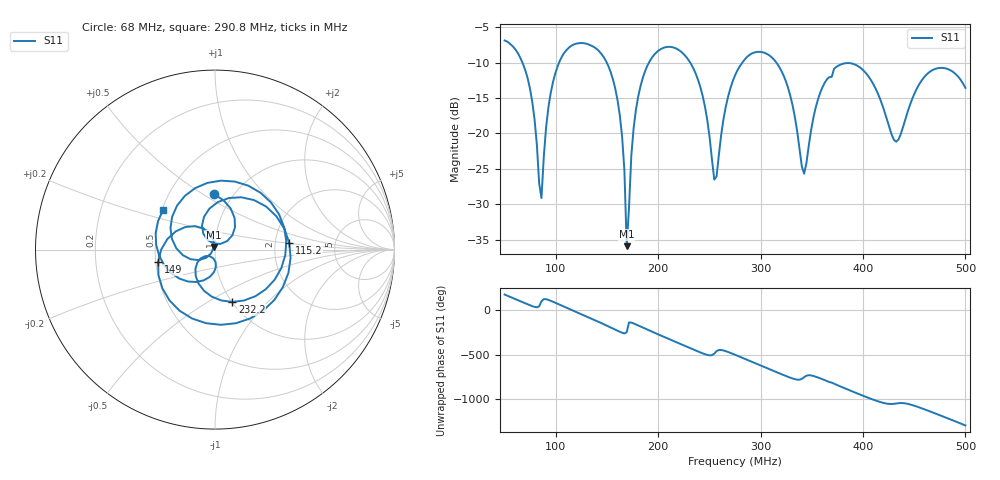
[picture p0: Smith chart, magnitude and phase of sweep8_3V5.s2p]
!Agilent Technologies,E8364B,US42250162,A.07.50.67
!Agilent E8364B: A.07.50.67
!Date: Friday, June 23, 2023 16:20:17
!Correction: S11(Off)
!S21(Off)
!S12(Off)
!S22(Off)
!S2P File: Measurements: S11, S21, S12, S22:
# Hz S  RI  R 50
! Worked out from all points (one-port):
!   201 points, 50 MHz to 500 MHz, reference 50 ohm
!   lowest |S11| = -35.9 dB at 169.2 MHz (marker M1), VSWR 1.03, Z = 49.3 + j1.44 ohm
!   |S11| at or under -10 dB: 149.7 MHz to 191 MHz (41.35 MHz wide, 24.3 % of centre); 231.2 MHz to 282.3 MHz (51.11 MHz wide, 19.9 % of centre); 315.3 MHz to end of sweep (the widest 3 of 4)
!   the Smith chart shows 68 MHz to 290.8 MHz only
!   S11 on the Smith chart (normalised r, x): 68 MHz: 0.82, +0.56; 115.2 MHz: 2.39, +0.22; 149 MHz: 0.51, -0.08; 232.2 MHz: 1.01, -0.65; 290.8 MHz: 0.51, +0.26
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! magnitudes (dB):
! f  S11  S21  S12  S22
! 50 MHz  -6.9  -  -  -
! 68 MHz  -10.2  -  -  -
! 86 MHz  -29.1  -  -  -
! 95 MHz  -14.3  -  -  -
! 115.2 MHz  -7.6  -  -  -
! 126.5 MHz  -7.3  -  -  -
! 149 MHz  -9.8  -  -  -
! 162.5 MHz  -17.4  -  -  -
! 169.2 MHz  -35.9  -  -  -
! 178.2 MHz  -16.7  -  -  -
! 200.8 MHz  -8.3  -  -  -
! 232.2 MHz  -10.3  -  -  -
! 254.8 MHz  -26.5  -  -  -
! 275 MHz  -11.8  -  -  -
! 290.8 MHz  -8.8  -  -  -
! 322.2 MHz  -11.8  -  -  -
! 342.5 MHz  -25.7  -  -  -
! 351.5 MHz  -17.8  -  -  -
! 387.5 MHz  -10.1  -  -  -
! 425.8 MHz  -19.2  -  -  -
! 468.5 MHz  -11.0  -  -  -
! 500 MHz  -13.6  -  -  -
